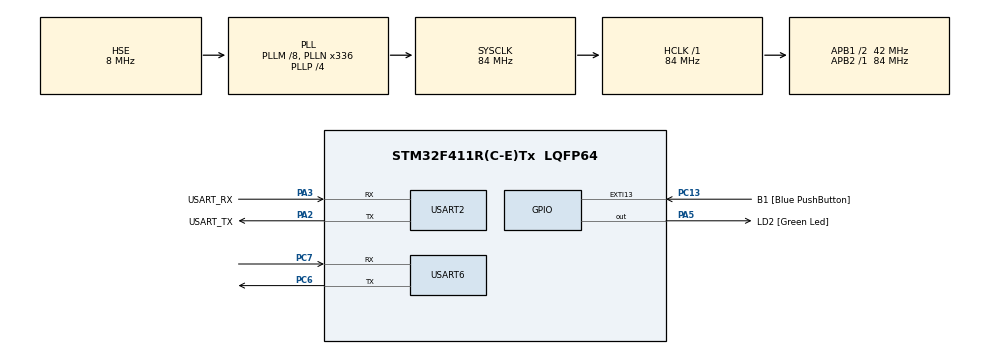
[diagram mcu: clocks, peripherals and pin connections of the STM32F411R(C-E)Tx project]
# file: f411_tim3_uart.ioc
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Mcu.Family=STM32F4
Mcu.Name=STM32F411R(C-E)Tx
Mcu.Package=LQFP64
NVIC.PriorityGroup=NVIC_PRIORITYGROUP_0
NVIC.TIM3_IRQn=true\:0\:0\:false\:false\:true\:true\:true\:true
PA13.GPIO_Label=TMS
PA13.Mode=Serial_Wire
PA13.Signal=SYS_JTMS-SWDIO
PA14.GPIO_Label=TCK
PA14.Mode=Serial_Wire
PA14.Signal=SYS_JTCK-SWCLK
PA2.GPIO_Label=USART_TX
PA2.Mode=Asynchronous
PA2.Signal=USART2_TX
PA3.GPIO_Label=USART_RX
PA3.Mode=Asynchronous
PA3.Signal=USART2_RX
PA5.GPIO_Label=LD2 [Green Led]
PA5.Signal=GPIO_Output
PB3.GPIO_Label=SWO
PB3.Signal=SYS_JTDO-SWO
PC13-ANTI_TAMP.GPIO_Label=B1 [Blue PushButton]
PC13-ANTI_TAMP.GPIO_ModeDefaultEXTI=GPIO_MODE_IT_FALLING
PC13-ANTI_TAMP.Signal=GPXTI13
PC14-OSC32_IN.Mode=LSE-External-Oscillator
PC14-OSC32_IN.Signal=RCC_OSC32_IN
PC15-OSC32_OUT.Mode=LSE-External-Oscillator
PC15-OSC32_OUT.Signal=RCC_OSC32_OUT
PC6.Mode=Asynchronous
PC6.Signal=USART6_TX
PC7.Mode=Asynchronous
PC7.Signal=USART6_RX
PH0\ -\ OSC_IN.Mode=HSE-External-Clock-Source
PH0\ -\ OSC_IN.Signal=RCC_OSC_IN
PH1\ -\ OSC_OUT.Mode=HSE-External-Clock-Source
PH1\ -\ OSC_OUT.Signal=RCC_OSC_OUT
ProjectManager.HeapSize=0x200
ProjectManager.StackSize=0x400
ProjectManager.TargetToolchain=STM32CubeIDE
RCC.48MHZClocksFreq_Value=84000000
RCC.AHBFreq_Value=84000000
RCC.APB1CLKDivider=RCC_HCLK_DIV2
RCC.APB1Freq_Value=42000000
RCC.APB1TimFreq_Value=84000000
RCC.APB2Freq_Value=84000000
RCC.APB2TimFreq_Value=84000000
RCC.CortexFreq_Value=84000000
RCC.FLatency-AdvancedSettings=FLASH_LATENCY_2
RCC.HCLKFreq_Value=84000000
RCC.HSE_VALUE=8000000
RCC.HSI_VALUE=16000000
RCC.PLLM=8
RCC.PLLN=336
RCC.PLLP=RCC_PLLP_DIV4
RCC.PLLSourceVirtual=RCC_PLLSOURCE_HSE
RCC.SYSCLKFreq_VALUE=84000000
RCC.SYSCLKSource=RCC_SYSCLKSOURCE_PLLCLK
RCC.VCOOutputFreq_Value=336000000
TIM3.AutoReloadPreload=TIM_AUTORELOAD_PRELOAD_ENABLE
TIM3.Period=1000-1
TIM3.Prescaler=84
USART2.VirtualMode=VM_ASYNC
USART6.VirtualMode=VM_ASYNC
VP_TIM3_VS_ClockSourceINT.Mode=Internal
board=NUCLEO-F411RE

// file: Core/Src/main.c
/* USER CODE BEGIN Header */
/**
  ******************************************************************************
  * @file           : main.c
  * @brief          : Main program body
  ******************************************************************************
  * @attention
  *
  * Copyright (c) 2024 STMicroelectronics.
  * All rights reserved.
  *
  * This software is licensed under terms that can be found in the LICENSE file
  * in the root directory of this software component.
  * If no LICENSE file comes with this software, it is provided AS-IS.
  *
  ******************************************************************************
  */
/* USER CODE END Header */
#include "main.h"

/* USER CODE BEGIN Includes */
#include <stdio.h>
#include <string.h>
/* USER CODE END Includes */

/* USER CODE BEGIN PD */
#ifdef __GNUC__
/* With GCC, small printf (option LD Linker->Libraries->Small printf
   set to 'Yes') calls __io_putchar() */
#define PUTCHAR_PROTOTYPE int __io_putchar(int ch)
#else
#define PUTCHAR_PROTOTYPE int fputc(int ch, FILE *f)
#endif /* __GNUC__ */
/* USER CODE END PD */

TIM_HandleTypeDef htim3;

UART_HandleTypeDef huart2;
UART_HandleTypeDef huart6;

/* USER CODE BEGIN PV */
__IO unsigned int secCnt;
__IO int tim3IntFlag;
/* USER CODE END PV */

void SystemClock_Config(void);
static void MX_GPIO_Init(void);
static void MX_USART2_UART_Init(void);
static void MX_TIM3_Init(void);
static void MX_USART6_UART_Init(void);
/* USER CODE BEGIN PFP */
void mDelay(const uint32_t Count);
/* USER CODE END PFP */

int main(void)
{

  /* MCU Configuration--------------------------------------------------------*/

  /* Reset of all peripherals, Initializes the Flash interface and the Systick. */
  HAL_Init();

  /* Configure the system clock */
  SystemClock_Config();

  /* Initialize all configured peripherals */
  MX_GPIO_Init();
  MX_USART2_UART_Init();
  MX_TIM3_Init();
  MX_USART6_UART_Init();
  /* USER CODE BEGIN 2 */
  printf("start main()\r\n");

  //HAL_TIM_Base_Start_IT(TIM_HandleTypeDef *htim)
  if(HAL_TIM_Base_Start_IT(&htim3) != HAL_OK){
	  Error_Handler();
  }
  /* USER CODE END 2 */

  /* Infinite loop */
  /* USER CODE BEGIN WHILE */
  while (1)
  {
//	  HAL_GPIO_TogglePin(LD2_GPIO_Port, LD2_Pin);
//	  mDelay(1000);

	  if(tim3IntFlag){
		  tim3IntFlag = 0;
		  printf("sec : %d\r\n", secCnt);
		  HAL_GPIO_TogglePin(LD2_GPIO_Port, LD2_Pin);
	  }
    /* USER CODE END WHILE */

  }
}

void SystemClock_Config(void)
{
  RCC_OscInitTypeDef RCC_OscInitStruct = {0};
  RCC_ClkInitTypeDef RCC_ClkInitStruct = {0};

  /** Configure the main internal regulator output voltage
  */
  __HAL_RCC_PWR_CLK_ENABLE();
  __HAL_PWR_VOLTAGESCALING_CONFIG(PWR_REGULATOR_VOLTAGE_SCALE1);

  /** Initializes the RCC Oscillators according to the specified parameters
  * in the RCC_OscInitTypeDef structure.
  */
  RCC_OscInitStruct.OscillatorType = RCC_OSCILLATORTYPE_HSE;
  RCC_OscInitStruct.HSEState = RCC_HSE_BYPASS;
  RCC_OscInitStruct.PLL.PLLState = RCC_PLL_ON;
  RCC_OscInitStruct.PLL.PLLSource = RCC_PLLSOURCE_HSE;
  RCC_OscInitStruct.PLL.PLLM = 8;
  RCC_OscInitStruct.PLL.PLLN = 336;
  RCC_OscInitStruct.PLL.PLLP = RCC_PLLP_DIV4;
  RCC_OscInitStruct.PLL.PLLQ = 4;
  if (HAL_RCC_OscConfig(&RCC_OscInitStruct) != HAL_OK)
  {
    Error_Handler();
  }

  /** Initializes the CPU, AHB and APB buses clocks
  */
  RCC_ClkInitStruct.ClockType = RCC_CLOCKTYPE_HCLK|RCC_CLOCKTYPE_SYSCLK
                              |RCC_CLOCKTYPE_PCLK1|RCC_CLOCKTYPE_PCLK2;
  RCC_ClkInitStruct.SYSCLKSource = RCC_SYSCLKSOURCE_PLLCLK;
  RCC_ClkInitStruct.AHBCLKDivider = RCC_SYSCLK_DIV1;
  RCC_ClkInitStruct.APB1CLKDivider = RCC_HCLK_DIV2;
  RCC_ClkInitStruct.APB2CLKDivider = RCC_HCLK_DIV1;

  if (HAL_RCC_ClockConfig(&RCC_ClkInitStruct, FLASH_LATENCY_2) != HAL_OK)
  {
    Error_Handler();
  }
}

static void MX_TIM3_Init(void)
{

  TIM_ClockConfigTypeDef sClockSourceConfig = {0};
  TIM_MasterConfigTypeDef sMasterConfig = {0};

  htim3.Instance = TIM3;
  htim3.Init.Prescaler = 84;
  htim3.Init.CounterMode = TIM_COUNTERMODE_UP;
  htim3.Init.Period = 1000-1;
  htim3.Init.ClockDivision = TIM_CLOCKDIVISION_DIV1;
  htim3.Init.AutoReloadPreload = TIM_AUTORELOAD_PRELOAD_ENABLE;
  if (HAL_TIM_Base_Init(&htim3) != HAL_OK)
  {
    Error_Handler();
  }
  sClockSourceConfig.ClockSource = TIM_CLOCKSOURCE_INTERNAL;
  if (HAL_TIM_ConfigClockSource(&htim3, &sClockSourceConfig) != HAL_OK)
  {
    Error_Handler();
  }
  sMasterConfig.MasterOutputTrigger = TIM_TRGO_RESET;
  sMasterConfig.MasterSlaveMode = TIM_MASTERSLAVEMODE_DISABLE;
  if (HAL_TIMEx_MasterConfigSynchronization(&htim3, &sMasterConfig) != HAL_OK)
  {
    Error_Handler();
  }

}

static void MX_USART2_UART_Init(void)
{

  huart2.Instance = USART2;
  huart2.Init.BaudRate = 115200;
  huart2.Init.WordLength = UART_WORDLENGTH_8B;
  huart2.Init.StopBits = UART_STOPBITS_1;
  huart2.Init.Parity = UART_PARITY_NONE;
  huart2.Init.Mode = UART_MODE_TX_RX;
  huart2.Init.HwFlowCtl = UART_HWCONTROL_NONE;
  huart2.Init.OverSampling = UART_OVERSAMPLING_16;
  if (HAL_UART_Init(&huart2) != HAL_OK)
  {
    Error_Handler();
  }

}

static void MX_USART6_UART_Init(void)
{

  huart6.Instance = USART6;
  huart6.Init.BaudRate = 115200;
  huart6.Init.WordLength = UART_WORDLENGTH_8B;
  huart6.Init.StopBits = UART_STOPBITS_1;
  huart6.Init.Parity = UART_PARITY_NONE;
  huart6.Init.Mode = UART_MODE_TX_RX;
  huart6.Init.HwFlowCtl = UART_HWCONTROL_NONE;
  huart6.Init.OverSampling = UART_OVERSAMPLING_16;
  if (HAL_UART_Init(&huart6) != HAL_OK)
  {
    Error_Handler();
  }

}

static void MX_GPIO_Init(void)
{
  GPIO_InitTypeDef GPIO_InitStruct = {0};

  /* GPIO Ports Clock Enable */
  __HAL_RCC_GPIOC_CLK_ENABLE();
  __HAL_RCC_GPIOH_CLK_ENABLE();
  __HAL_RCC_GPIOA_CLK_ENABLE();
  __HAL_RCC_GPIOB_CLK_ENABLE();

  /*Configure GPIO pin Output Level */
  HAL_GPIO_WritePin(LD2_GPIO_Port, LD2_Pin, GPIO_PIN_RESET);

  /*Configure GPIO pin : B1_Pin */
  GPIO_InitStruct.Pin = B1_Pin;
  GPIO_InitStruct.Mode = GPIO_MODE_IT_FALLING;
  GPIO_InitStruct.Pull = GPIO_NOPULL;
  HAL_GPIO_Init(B1_GPIO_Port, &GPIO_InitStruct);

  /*Configure GPIO pin : LD2_Pin */
  GPIO_InitStruct.Pin = LD2_Pin;
  GPIO_InitStruct.Mode = GPIO_MODE_OUTPUT_PP;
  GPIO_InitStruct.Pull = GPIO_NOPULL;
  GPIO_InitStruct.Speed = GPIO_SPEED_FREQ_LOW;
  HAL_GPIO_Init(LD2_GPIO_Port, &GPIO_InitStruct);

}

/* USER CODE BEGIN 4 */
void HAL_TIM_PeriodElapsedCallback(TIM_HandleTypeDef *htim)
{
	static unsigned int mSec = 0;

	mSec++;
	if(mSec == 100)
	{
		secCnt++;
		mSec = 0;
		tim3IntFlag = 1;
	}
}

/**
  * @brief  Retargets the C library printf function to the USART.
  * @param  None
  * @retval None
  */
PUTCHAR_PROTOTYPE
{
  /* Place your implementation of fputc here */
  /* e.g. write a character to the USART6 and Loop until the end of transmission */
  HAL_UART_Transmit(&huart2, (uint8_t *)&ch, 1, 0xFFFF);

  return ch;
}

void mDelay(const uint32_t Count)
{
	__IO uint32_t index = 0;
	for (index = (8400 * Count); index != 0; index--);
}
/* USER CODE END 4 */

void Error_Handler(void)
{
  /* USER CODE BEGIN Error_Handler_Debug */
  /* User can add his own implementation to report the HAL error return state */
  __disable_irq();
  while (1)
  {
	  puts("Error_Handler()");
  }
  /* USER CODE END Error_Handler_Debug */
}
